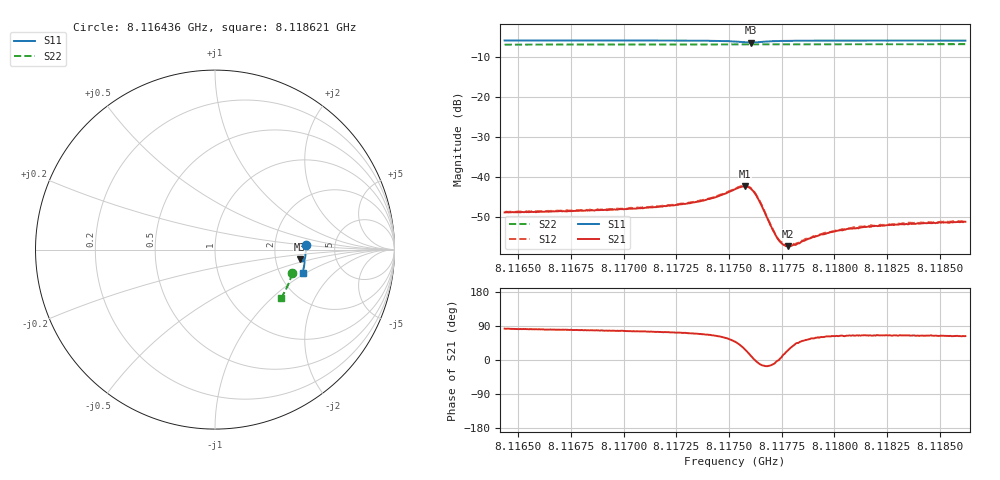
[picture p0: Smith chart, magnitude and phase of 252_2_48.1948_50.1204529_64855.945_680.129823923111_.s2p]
#  HZ  S  RI  R  50.00
! Rohde & Schwarz Vector Network Analyzer
! Rohde-Schwarz,ZNB20-2Port,1311601062101988,3.16
! Created: UTC 3/20/2024, 11:47:18 AM
! freq[Hz]  re:S11  im:S11  re:S21  im:S21  re:S12  im:S12  re:S22  im:S22
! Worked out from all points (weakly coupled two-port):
!   401 points, 8.116436 GHz to 8.118621 GHz, reference 50 ohm
!   highest |S21| = -42.41 dB at 8.117578 GHz (marker M1); lowest = -57.4 dB at 8.11778 GHz (marker M2)
!   lowest |S11| = -6.4 dB at 8.117605 GHz (marker M3), VSWR 2.82, Z = 138 - j19.5 ohm
!   |S11| at or under -10 dB: nowhere
!   |S22| runs from -6.9 to -6.8 dB; largest |S21 - S12| = 0.00019
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8.1164357e9  0.5062 0.0259  0.000444 0.00355  0.000509 0.00364  0.4298 -0.1313
8.1168018e9  0.5063 -0.00211  0.00071 0.00371  0.000763 0.00373  0.4228 -0.1558
8.1171678e9  0.5044 -0.0312  0.00117 0.00404  0.0012 0.0041  0.4142 -0.1799
8.11737e9  0.5009 -0.0492  0.00186 0.00465  0.00191 0.0047  0.4085 -0.1931
8.1174465e9  0.4973 -0.0573  0.0026 0.00506  0.00268 0.00515  0.4065 -0.198
8.1175285e9  0.4875 -0.0654  0.00464 0.00523  0.0048 0.0053  0.4037 -0.2033
8.1175776e9  0.4763 -0.0625  0.00676 0.00343  0.00692 0.00346  0.4018 -0.2059
8.117605e9  0.4737 -0.0547  0.00692 0.00128  0.00708 0.0012  0.401 -0.2071
8.1176213e9  0.4758 -0.05  0.00627 5.95e-05  0.0064 2.13e-05  0.4007 -0.208
8.1176432e9  0.4813 -0.0463  0.00493 -0.000863  0.00503 -0.0009  0.4005 -0.2091
8.1176978e9  0.4925 -0.0497  0.00238 -0.000596  0.00241 -0.000641  0.3994 -0.2125
8.1177252e9  0.4953 -0.0533  0.00178 -0.000114  0.00178 -0.000173  0.3987 -0.2146
8.1177525e9  0.4971 -0.057  0.00143 0.00026  0.00147 0.000267  0.3979 -0.2163
8.1177798e9  0.4979 -0.0604  0.00122 0.000586  0.00124 0.000587  0.3971 -0.2181
8.1178235e9  0.4987 -0.0653  0.00103 0.00102  0.00107 0.00102  0.3957 -0.2211
8.1178563e9  0.4988 -0.0688  0.000988 0.00123  0.00102 0.00127  0.3947 -0.223
8.1178945e9  0.4988 -0.0726  0.000946 0.00146  0.000964 0.00148  0.3935 -0.2255
8.1179546e9  0.4984 -0.078  0.00093 0.00169  0.000971 0.00174  0.3916 -0.2291
8.1180803e9  0.497 -0.0886  0.00097 0.00203  0.00101 0.00205  0.3873 -0.2371
8.1182606e9  0.4944 -0.1029  0.00103 0.00226  0.00109 0.0023  0.381 -0.248
8.118359e9  0.4927 -0.1104  0.00112 0.00234  0.00113 0.0024  0.3774 -0.2539
8.1186212e9  0.4878 -0.1297  0.00124 0.00244  0.00126 0.00247  0.3674 -0.2694
